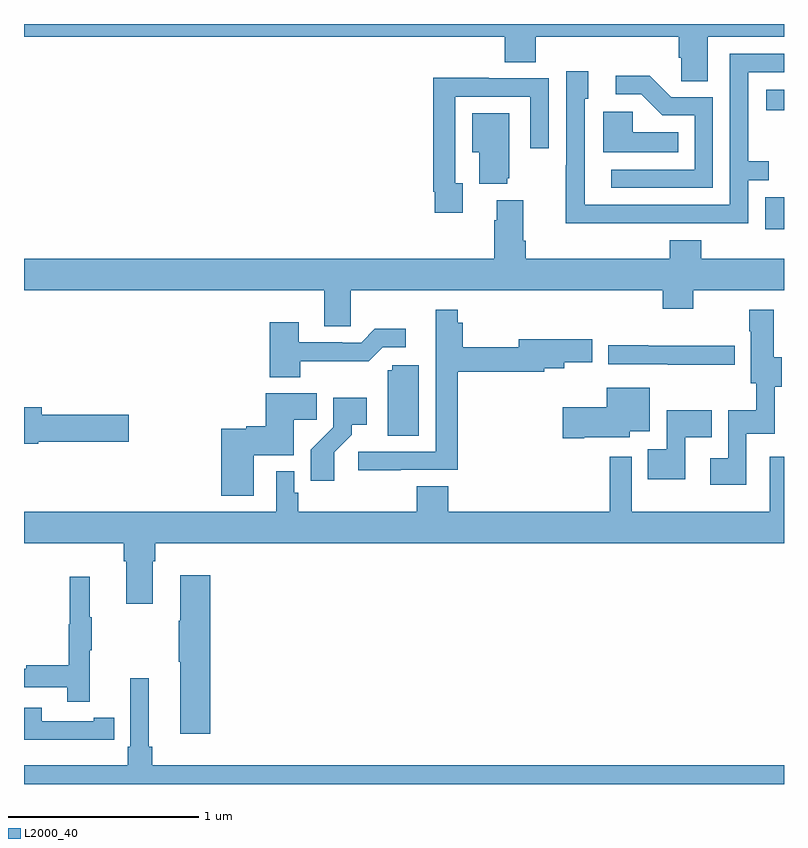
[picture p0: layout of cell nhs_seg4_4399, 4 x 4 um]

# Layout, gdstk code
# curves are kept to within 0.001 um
import gdstk
lib = gdstk.Library(unit=1e-6, precision=1e-09)
def R(c, l, rs):  # rectangles x0, y0, x1, y1
    for r in rs: c.add(gdstk.rectangle(r[:2], r[2:], *l))
def P(c, l, *ps):  # polygons
    for p in ps: c.add(gdstk.Polygon(p, *l))
L2000_40 = (2000, 40)

nhs_seg4_4399 = lib.new_cell('nhs_seg4_4399')
R(nhs_seg4_4399, L2000_40, [(350.901,783.819,351,783.987), (350.907,784.445,351,784.555)])
P(nhs_seg4_4399, L2000_40, [(350.599,784.832),(351,784.832),(351,784.9),(347,784.9),(347,784.832),(349.529,784.832),(349.529,784.699),(349.694,784.699),(349.694,784.832),(350.447,784.832),(350.447,784.723),(350.46,784.723),(350.46,784.6),(350.599,784.6)],
  [(350.315,783.852),(350.811,783.852),(350.811,784.077),(350.921,784.077),(350.921,784.178),(350.811,784.178),(350.811,784.647),(351,784.647),(351,784.743),(350.715,784.743),(350.715,783.948),(349.951,783.948),(349.951,784.202),(349.95,784.202),(349.95,784.506),(349.969,784.506),(349.969,784.651),(349.854,784.651),(349.854,784.157),(349.852,784.157),(349.852,783.851),(350.315,783.851)],
  [(350.625,784.515),(350.406,784.515),(350.293,784.628),(350.115,784.628),(350.115,784.53),(350.249,784.53),(350.36,784.419),(350.529,784.419),(350.529,784.134),(350.091,784.134),(350.091,784.038),(350.625,784.038)],
  [(349.309,784.062),(349.269,784.062),(349.269,784.518),(349.665,784.518),(349.665,784.245),(349.761,784.245),(349.761,784.614),(349.445,784.614),(349.445,784.616),(349.153,784.616),(349.153,784.018),(349.161,784.018),(349.161,783.906),(349.309,783.906)],
  [(350.444,784.33),(350.205,784.33),(350.205,784.438),(350.048,784.438),(350.048,784.226),(350.444,784.226)],
  [(349.544,784.089),(349.555,784.089),(349.555,784.429),(349.358,784.429),(349.358,784.226),(349.397,784.226),(349.397,784.058),(349.544,784.058)],
  [(348.72,783.5),(350.363,783.5),(350.363,783.401),(350.523,783.401),(350.523,783.5),(351,783.5),(351,783.664),(350.564,783.664),(350.564,783.763),(350.399,783.763),(350.399,783.664),(349.64,783.664),(349.64,783.76),(349.627,783.76),(349.627,783.973),(349.487,783.973),(349.487,783.866),(349.475,783.866),(349.475,783.664),(347,783.664),(347,783.5),(348.581,783.5),(348.581,783.31),(348.72,783.31)],
  [(348.983,782.553),(349.283,782.553),(349.283,783.07),(349.739,783.07),(349.739,783.089),(349.843,783.089),(349.843,783.119),(349.99,783.119),(349.99,783.241),(349.604,783.241),(349.604,783.199),(349.308,783.199),(349.308,783.328),(349.283,783.328),(349.283,783.397),(349.167,783.397),(349.167,782.649),(348.759,782.649),(348.759,782.551),(348.983,782.551)],
  [(350.802,782.744),(350.952,782.744),(350.952,782.992),(350.989,782.992),(350.989,783.147),(350.947,783.147),(350.947,783.397),(350.818,783.397),(350.818,783.284),(350.825,783.284),(350.825,783.008),(350.854,783.008),(350.854,782.866),(350.706,782.866),(350.706,782.614),(350.613,782.614),(350.613,782.474),(350.802,782.474)],
  [(348.453,783.126),(348.815,783.125),(348.888,783.198),(349.009,783.198),(349.009,783.295),(348.847,783.295),(348.774,783.222),(348.674,783.222),(348.674,783.225),(348.445,783.225),(348.445,783.331),(348.293,783.331),(348.293,783.041),(348.453,783.041)],
  [(350.74,783.206),(350.285,783.206),(350.285,783.209),(350.075,783.209),(350.075,783.108),(350.389,783.108),(350.389,783.106),(350.74,783.106)],
  [(349.078,783.105),(348.939,783.105),(348.939,783.078),(348.914,783.078),(348.914,782.734),(349.078,782.734)],
  [(349.948,782.726),(350.188,782.726),(350.188,782.756),(350.293,782.756),(350.293,782.986),(350.066,782.986),(350.066,782.884),(349.836,782.884),(349.836,782.719),(349.948,782.719)],
  [(348.208,782.63),(348.421,782.63),(348.421,782.818),(348.542,782.818),(348.542,782.956),(348.272,782.956),(348.272,782.783),(348.171,782.783),(348.171,782.77),(348.038,782.77),(348.038,782.418),(348.208,782.418)],
  [(348.634,782.647),(348.724,782.737),(348.724,782.792),(348.805,782.792),(348.805,782.932),(348.627,782.932),(348.627,782.777),(348.508,782.658),(348.508,782.496),(348.634,782.496)],
  [(347.076,782.701),(347.551,782.701),(347.551,782.843),(347.093,782.843),(347.093,782.884),(347,782.884),(347,782.69),(347.076,782.69)],
  [(350.479,782.726),(350.621,782.726),(350.621,782.866),(350.382,782.866),(350.382,782.662),(350.284,782.662),(350.284,782.504),(350.479,782.504)],
  [(348.327,782.545),(348.327,782.332),(347,782.332),(347,782.168),(347.525,782.168),(347.525,782.072),(347.537,782.072),(347.537,781.848),(347.677,781.848),(347.677,782.072),(347.69,782.072),(347.69,782.168),(351,782.168),(351,782.623),(350.925,782.623),(350.925,782.332),(350.199,782.332),(350.199,782.623),(350.083,782.623),(350.083,782.332),(349.232,782.332),(349.232,782.468),(349.067,782.468),(349.067,782.332),(348.443,782.332),(348.443,782.433),(348.423,782.433),(348.423,782.545)],
  [(347.981,781.999),(347.822,781.999),(347.822,781.76),(347.815,781.76),(347.815,781.543),(347.822,781.543),(347.822,781.164),(347.981,781.164)],
  [(347.345,781.603),(347.356,781.603),(347.356,781.777),(347.345,781.777),(347.345,781.99),(347.242,781.99),(347.242,781.74),(347.235,781.74),(347.235,781.526),(347.011,781.526),(347.011,781.506),(347,781.506),(347,781.41),(347.227,781.41),(347.227,781.332),(347.345,781.332)],
  [(351,781),(347.675,781),(347.675,781.096),(347.656,781.096),(347.656,781.456),(347.559,781.456),(347.559,781.096),(347.546,781.096),(347.546,781),(347,781),(347,780.9),(351,780.9)],
  [(347.366,781.134),(347.474,781.134),(347.474,781.25),(347.366,781.25),(347.366,781.23),(347.094,781.23),(347.094,781.302),(347,781.302),(347,781.133),(347.366,781.133)])

lib.write_gds('nhs_seg4_4399.gds')
